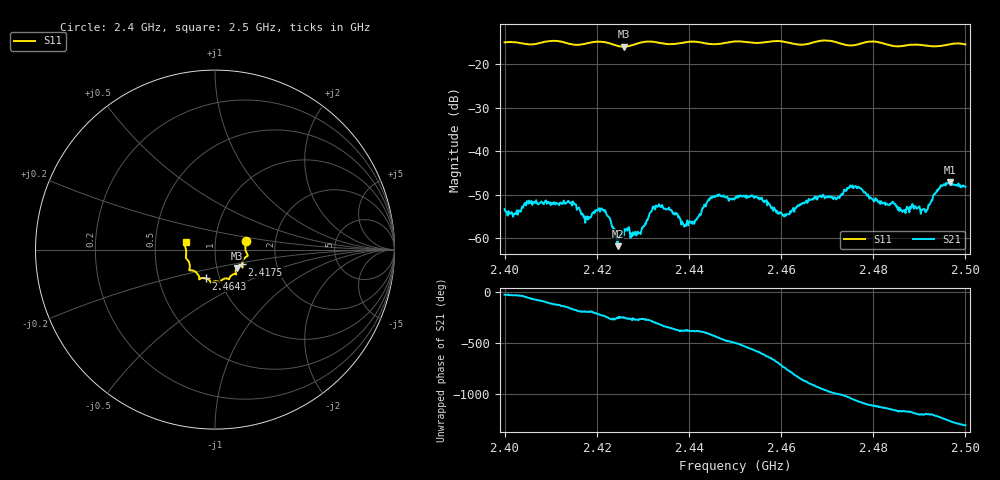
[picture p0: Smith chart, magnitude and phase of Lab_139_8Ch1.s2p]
# Hz S RI R 50
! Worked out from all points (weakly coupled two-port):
!   601 points, 2.4 GHz to 2.5 GHz, reference 50 ohm
!   highest |S21| = -47.05 dB at 2.4967 GHz (marker M1); lowest = -61.8 dB at 2.4245 GHz (marker M2)
!   lowest |S11| = -16.0 dB at 2.4258 GHz (marker M3), VSWR 1.38, Z = 62.3 - j13.1 ohm
!   |S11| at or under -10 dB: start of sweep to end of sweep
!   S12 and S22 are empty: the file has one direction only
!   S11 on the Smith chart (normalised r, x): 2.4 GHz: 1.41, +0.14; 2.4175 GHz: 1.33, -0.23; 2.4643 GHz: 0.86, -0.29; 2.5 GHz: 0.72, +0.06
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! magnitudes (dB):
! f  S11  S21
! 2.4 GHz  -15.0  -53.3
! 2.414 GHz  -15.3  -51.8
! 2.4167 GHz  -15.4  -54.6
! 2.4175 GHz  -15.3  -56.5
! 2.4215 GHz  -14.9  -53.5
! 2.4245 GHz  -15.8  -61.8
! 2.4258 GHz  -16.0  -59.4
! 2.429 GHz  -15.2  -58.9
! 2.4333 GHz  -15.0  -52.7
! 2.4393 GHz  -14.9  -57.2
! 2.4448 GHz  -15.3  -50.5
! 2.45 GHz  -14.7  -50.9
! 2.4553 GHz  -15.1  -51.1
! 2.4608 GHz  -14.8  -54.5
! 2.4643 GHz  -15.5  -52.3
! 2.4667 GHz  -15.1  -51.1
! 2.4755 GHz  -15.7  -47.9
! 2.4833 GHz  -15.6  -52.3
! 2.4913 GHz  -15.7  -54.0
! 2.4943 GHz  -15.8  -48.6
! 2.4967 GHz  -15.4  -47.1
! 2.5 GHz  -15.4  -48.2
